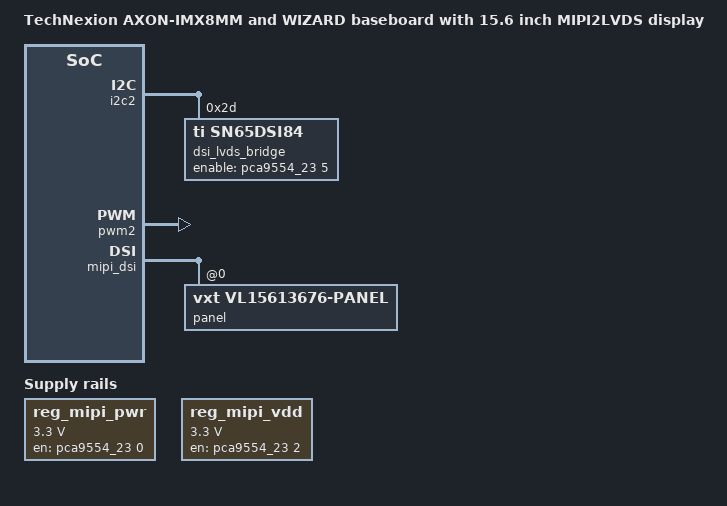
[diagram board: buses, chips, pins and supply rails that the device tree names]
/dts-v1/;
/plugin/;

#include <dt-bindings/gpio/gpio.h>
#include "../imx8mm-pinfunc.h"

/{
	fragment@0 {
		target-path = "/";
		__overlay__ {
			model = "TechNexion AXON-IMX8MM and WIZARD baseboard with 15.6 inch MIPI2LVDS display";

			regulators {
				reg_mipi_pwr: regulator_mipipwr {
					pinctrl-names = "default";
					compatible = "regulator-fixed";
					regulator-name = "mipi_pwr";
					regulator-min-microvolt = <3300000>;
					regulator-max-microvolt = <3300000>;
					gpio = <&pca9554_23 0 GPIO_ACTIVE_HIGH>;
					regulator-always-on;
					enable-active-high;
					regulator-boot-on;
					status = "okay";
				};

				reg_mipi_vdd: regulator_mipivdd {
					pinctrl-names = "default";
					compatible = "regulator-fixed";
					regulator-name = "mipi_vdd";
					regulator-min-microvolt = <3300000>;
					regulator-max-microvolt = <3300000>;
					gpio = <&pca9554_23 2 GPIO_ACTIVE_HIGH>;
					regulator-always-on;
					enable-active-high;
					regulator-boot-on;
					status = "okay";
				};

				reg_backlight_pwr: regulator_blpwr {
					gpio = <&pca9554_23 3 GPIO_ACTIVE_HIGH>;
					regulator-always-on;
					enable-active-high;
					regulator-boot-on;
					status = "okay";
				};
			};

			backlight_mipi {
				pwms = <&pwm2 0 50000 0>;
				status = "okay";
			};
		};
	};

	fragment@1 {
		target = <&i2c2>;
		__overlay__ {
			#address-cells = <1>;
			#size-cells = <0>;
			status = "okay";

			dsi_lvds_bridge: sn65dsi84@2d {
				reg = <0x2d>;
				status = "okay";
				compatible = "ti,sn65dsi84";
				#gpio-cells = <2>;
				enable-gpios = <&pca9554_23 5 GPIO_ACTIVE_HIGH>;
		sn65dsi84,addresses = <0x09 0x0A 0x0B 0x0D
							0x10 0x11 0x12 0x13
							0x18 0x19 0x1A 0x1B
							0x20 0x21 0x22 0x23
							0x24 0x25 0x26 0x27
							0x28 0x29 0x2A 0x2B
							0x2C 0x2D 0x2E 0x2F
							0x30 0x31 0x32 0x33
							0x34 0x35 0x36 0x37
							0x38 0x39 0x3A 0x3B
							0x3C 0x3D 0x3E 0x0D>;

				sn65dsi84,values = </* reset and clock registers */
							0x00 0x05 0x10 0x00
							/* DSI registers */
							0x26 0x00 0x2d 0x00
							/* LVDS registers */
							0x78 0x00 0x03 0x00

							/* video registers */
							/* cha-al-len-l, cha-al-len-h, chb-al-len-l, chb-al-len-h */
							0x56 0x05 0x00 0x00
							/* cha-v-ds-l, cha-v-ds-h, chb-v-ds-l, chb-v-ds-h */
							0x00 0x00 0x00 0x00
							/* cha-sdl, cha-sdh, chb-sdl, chb-sdh */
							0x21 0x00 0x00 0x00
							/* cha-hs-pwl, cha-hs-pwh, chb-hs-pwl, chb-hs-pwh */
							0x64 0x00 0x00 0x00
							/* cha-vs-pwl, cha-vs-pwh, chb-vs-pwl, chb-vs-pwh */
							0x14 0x00 0x00 0x00
							/*cha-hbp, chb-hbp, cha-vbp, chb-vbp*/
							0x2f 0x00 0x00 0x00
							/* cha-hfp, chb-hfp, cha-vfp, chb-vfp*/
							0x00 0x00 0x00 0x00

							0x00 0x00 0x00 0x01>;
			};
		};
	};

	fragment@2 {
		target = <&pwm1>;
		__overlay__ {
			status = "disabled";
		};
	};

	fragment@3 {
		target = <&pwm2>;
		__overlay__ {
			pinctrl-names = "default";
			pinctrl-0 = <&pinctrl_dsi_pwm>;
			status = "okay";
		};
	};

	fragment@4 {
		target = <&mipi_dsi>;
		__overlay__ {
			#address-cells = <1>;
			#size-cells = <0>;
			status = "okay";

			panel@0 {
				reg = <0>;
				compatible = "vxt,vl15613676-panel";
				dsi,flags = <0x0007>;
				dsi,format = <0>;
				dsi,lanes = <4>;
				panel-width-mm  = <344>;
				panel-height-mm = <193>;
				bus-format = <0x100a>;	/* MEDIA_BUS_FMT_RGB888_1X24 */
				bus-flags = <1>;
				refresh-rate = <60>;
				rotate = <0>;
				/* horz-flip; */
				/* vert-flip; */
				panel-timing {
					clock-frequency = <76000000>;
					hactive = <1368>;
					vactive = <768>;
					hfront-porch = <90>;
					hsync-len = <20>;
					hback-porch = <90>;
					vfront-porch = <17>;
					vsync-len = <4>;
					vback-porch = <17>;
					/* flags = DISPLAY_FLAGS_HSYNC_HIGH | DISPLAY_FLAGS_VSYNC_HIGH */
					vsync-active = <1>;
					hsync-active = <1>;
				};
			};
		};
	};
};
